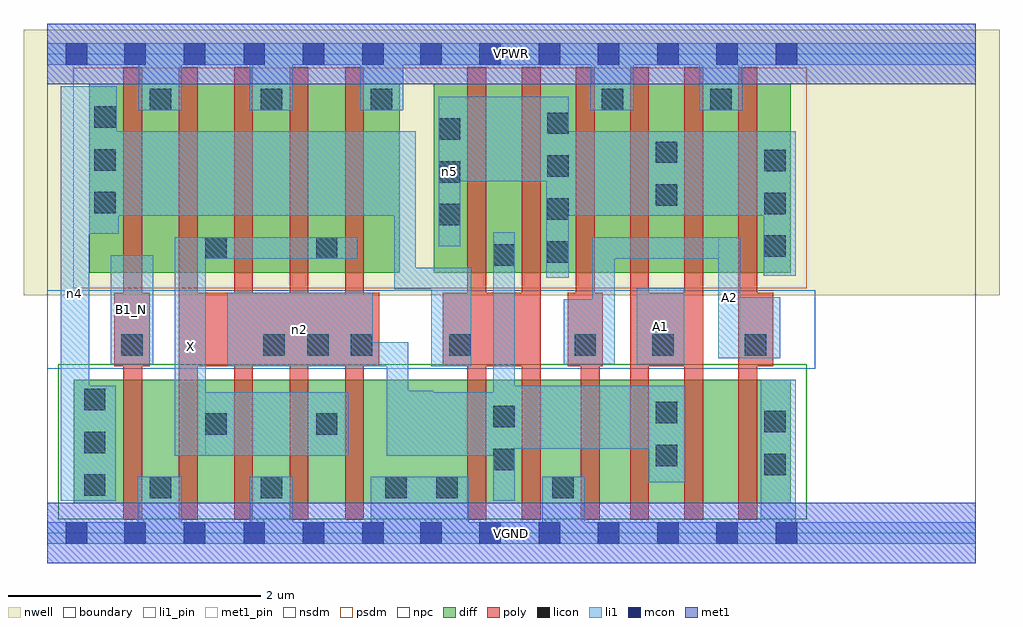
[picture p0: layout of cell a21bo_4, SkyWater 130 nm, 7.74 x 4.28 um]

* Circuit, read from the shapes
.subckt a21bo_4 A1 A2 B1_N VGND VPWR X n2 n4 n5
XM1 VGND B1_N n4 VSUBS sky130_fd_pr__nfet_01v8 w=0.98 l=0.15
XM2 X n2 VGND VSUBS sky130_fd_pr__nfet_01v8 w=0.98 l=0.15 m=4
XM3 n2 n4 VGND VSUBS sky130_fd_pr__nfet_01v8 w=0.98 l=0.15 m=2
XM4 n1 A2 VGND VSUBS sky130_fd_pr__nfet_01v8 w=0.98 l=0.15
XM5 n2 A1 n1 VSUBS sky130_fd_pr__nfet_01v8 w=0.98 l=0.15
XM6 n3 A1 n2 VSUBS sky130_fd_pr__nfet_01v8 w=0.98 l=0.15
XM7 VGND A2 n3 VSUBS sky130_fd_pr__nfet_01v8 w=0.98 l=0.15
XM8 VPWR B1_N n4 n6 sky130_fd_pr__pfet_01v8 w=1.5 l=0.15
XM9 X n2 VPWR n6 sky130_fd_pr__pfet_01v8 w=1.5 l=0.15 m=4
XM10 n2 n4 n5 n6 sky130_fd_pr__pfet_01v8 w=1.5 l=0.15 m=2
XM11 VPWR A2 n5 n6 sky130_fd_pr__pfet_01v8 w=1.5 l=0.15 m=2
XM12 n5 A1 VPWR n6 sky130_fd_pr__pfet_01v8 w=1.5 l=0.15 m=2
.ends

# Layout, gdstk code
import gdstk
lib = gdstk.Library(unit=1e-6, precision=1e-09)
def R(c, l, rs):  # rectangles x0, y0, x1, y1
    for r in rs: c.add(gdstk.rectangle(r[:2], r[2:], *l))
def A(c, l, x, y, w, h, nx, ny, dx, dy):  # array of equal rectangles
    R(c, l, [(x+i*dx, y+j*dy, x+i*dx+w, y+j*dy+h) for i in range(nx) for j in range(ny)])
nwell = (64, 20)
diff = (65, 20)
poly = (66, 20)
licon = (66, 44)
li1_pin = (67, 16)
li1 = (67, 20)
mcon = (67, 44)
met1_pin = (68, 16)
met1 = (68, 20)
nsdm = (93, 44)
psdm = (94, 20)
npc = (95, 20)
boundary = (235, 4)

a21bo_4 = lib.new_cell('a21bo_4')
R(a21bo_4, nwell, [(-0.19,1.885,7.55,3.99), (0,1.885,7.36,3.99)])
R(a21bo_4, diff, [(0.21,0.235,5.895,1.215), (0.33,2.065,2.795,3.565), (3.065,2.065,5.895,3.565)])
A(a21bo_4, poly, 0.6, 0.105, 0.15, 3.59, 5, 1, 0.44, 0)
A(a21bo_4, poly, 4.62, 0.105, 0.15, 3.59, 3, 1, 0.43, 0)
R(a21bo_4, poly, [(3.33,0.105,3.48,3.695), (3.76,0.105,3.91,3.695), (4.23,0.105,4.38,1.905), (0.53,1.325,0.81,1.905), (1.04,1.325,2.63,1.905), (3.135,1.325,3.91,1.905), (4.125,1.325,4.405,1.905), (4.19,1.325,4.34,3.695), (4.62,1.325,5.2,1.905), (5.48,1.325,5.755,1.905)])
A(a21bo_4, licon, 0.29, 0.295, 0.17, 0.17, 1, 3, 0, 0.34)
A(a21bo_4, licon, 3.965, 2.145, 0.17, 0.17, 1, 4, 0, 0.34)
A(a21bo_4, licon, 5.685, 2.19, 0.17, 0.17, 1, 3, 0, 0.34)
A(a21bo_4, licon, 3.105, 2.44, 0.17, 0.17, 1, 3, 0, 0.34)
A(a21bo_4, licon, 0.37, 2.535, 0.17, 0.17, 1, 3, 0, 0.34)
R(a21bo_4, licon, [(0.81,0.275,0.98,0.445), (1.69,0.275,1.86,0.445), (2.68,0.275,2.85,0.445), (3.085,0.275,3.255,0.445), (4.005,0.275,4.175,0.445), (5.685,0.46,5.855,0.63), (3.535,0.5,3.705,0.67), (4.825,0.53,4.995,0.7), (1.25,0.78,1.42,0.95), (2.13,0.78,2.3,0.95), (5.685,0.8,5.855,0.97), (3.535,0.84,3.705,1.01), (4.825,0.87,4.995,1.04), (0.585,1.405,0.755,1.575), (1.71,1.405,1.88,1.575), (2.06,1.405,2.23,1.575), (2.405,1.405,2.575,1.575), (3.185,1.405,3.355,1.575), (4.18,1.405,4.35,1.575), (4.795,1.405,4.965,1.575), (5.53,1.405,5.7,1.575), (3.535,2.12,3.705,2.29), (1.25,2.175,1.42,2.345), (2.13,2.175,2.3,2.345), (4.825,2.595,4.995,2.765), (4.825,2.935,4.995,3.105), (0.81,3.355,0.98,3.525), (1.69,3.355,1.86,3.525), (2.565,3.355,2.735,3.525), (4.395,3.355,4.565,3.525), (5.255,3.355,5.425,3.525)])
R(a21bo_4, li1_pin, [(1.01,0.615,1.255,2.345), (0.5,1.34,0.84,2.205), (4.675,1.34,5.05,1.94), (5.32,1.385,5.495,2.345)])
R(a21bo_4, li1, [(0,-0.085,7.36,0.085), (0.715,-0.085,1.065,0.445), (1.605,-0.085,1.945,0.445), (2.565,-0.085,3.34,0.445), (3.925,-0.085,4.26,0.445), (5.655,-0.085,5.935,1.215), (0.105,0.255,0.33,3.545), (0.105,0.255,0.54,1.17), (3.535,0.255,3.705,2.385), (4.77,0.405,5.06,1.17), (1.01,0.615,1.255,2.345), (1.01,0.615,2.385,1.115), (2.69,0.615,3.705,1.115), (2.69,0.615,2.86,1.515), (2.69,0.615,3.06,1.13), (3.535,0.67,5.06,1.17), (1.425,1.325,2.58,1.905), (1.425,1.325,2.86,1.515), (3.045,1.325,3.36,2.105), (0.5,1.34,0.84,2.205), (4.095,1.34,4.5,1.855), (4.32,1.34,4.5,2.345), (4.675,1.34,5.05,1.94), (5.32,1.385,5.81,1.87), (5.32,1.385,5.495,2.345), (2.75,1.935,2.92,3.185), (2.75,1.935,3.36,2.105), (3.955,2.025,4.135,3.46), (5.68,2.04,5.935,3.185), (1.01,2.175,2.455,2.345), (4.32,2.175,5.495,2.345), (3.105,2.275,3.275,3.46), (0.105,2.375,0.55,3.545), (0.105,2.375,0.565,3.185), (0.105,2.515,2.92,3.185), (3.955,2.515,5.935,3.185), (3.105,2.79,4.135,3.46), (0.725,3.355,1.065,3.885), (1.605,3.355,1.945,3.885), (2.48,3.355,2.82,3.885), (4.31,3.355,4.65,3.885), (5.17,3.355,5.51,3.885), (0,3.715,7.36,3.885)])
A(a21bo_4, mcon, 1.555, -0.085, 0.17, 0.17, 3, 2, 0.47, 3.8)
A(a21bo_4, mcon, 2.955, -0.085, 0.17, 0.17, 7, 2, 0.47, 3.8)
R(a21bo_4, mcon, [(0.145,-0.085,0.315,0.085), (0.61,-0.085,0.78,0.085), (1.08,-0.085,1.25,0.085), (0.145,3.715,0.315,3.885), (0.61,3.715,0.78,3.885), (1.08,3.715,1.25,3.885)])
R(a21bo_4, met1_pin, [(0,-0.24,7.36,0.24), (0,3.56,7.36,4.04)])
R(a21bo_4, met1, [(0,-0.24,7.36,0.24), (0,3.56,7.36,4.04)])
R(a21bo_4, nsdm, [(0.085,0.11,6.02,1.34)])
R(a21bo_4, psdm, [(0.205,1.94,6.02,3.69)])
R(a21bo_4, npc, [(0,1.305,6.09,1.925)])
R(a21bo_4, boundary, [(0,0,7.36,3.8)])
a21bo_4.add(gdstk.Label('A1', (4.862,1.64), layer=67, texttype=5))
a21bo_4.add(gdstk.Label('A2', (5.407,1.865), layer=67, texttype=5))
a21bo_4.add(gdstk.Label('B1_N', (0.67,1.772), layer=67, texttype=5))
a21bo_4.add(gdstk.Label('X', (1.132,1.48), layer=67, texttype=5))
a21bo_4.add(gdstk.Label('n2', (2.002,1.615), layer=67, texttype=5))
a21bo_4.add(gdstk.Label('n5', (3.19,2.867), layer=67, texttype=5))
a21bo_4.add(gdstk.Label('n4', (0.217,1.9), layer=67, texttype=5))
a21bo_4.add(gdstk.Label('VPWR', (3.68,3.8), layer=68, texttype=5))
a21bo_4.add(gdstk.Label('VGND', (3.68,0), layer=68, texttype=5))
a21bo_4.add(gdstk.Label('A1', (4.862,1.64), layer=67, texttype=16))
a21bo_4.add(gdstk.Label('A2', (5.407,1.865), layer=67, texttype=16))
a21bo_4.add(gdstk.Label('B1_N', (0.67,1.772), layer=67, texttype=16))
a21bo_4.add(gdstk.Label('X', (1.132,1.48), layer=67, texttype=16))
a21bo_4.add(gdstk.Label('VPWR', (3.68,3.8), layer=68, texttype=16))
a21bo_4.add(gdstk.Label('VGND', (3.68,0), layer=68, texttype=16))

lib.write_gds('a21bo_4.gds')
